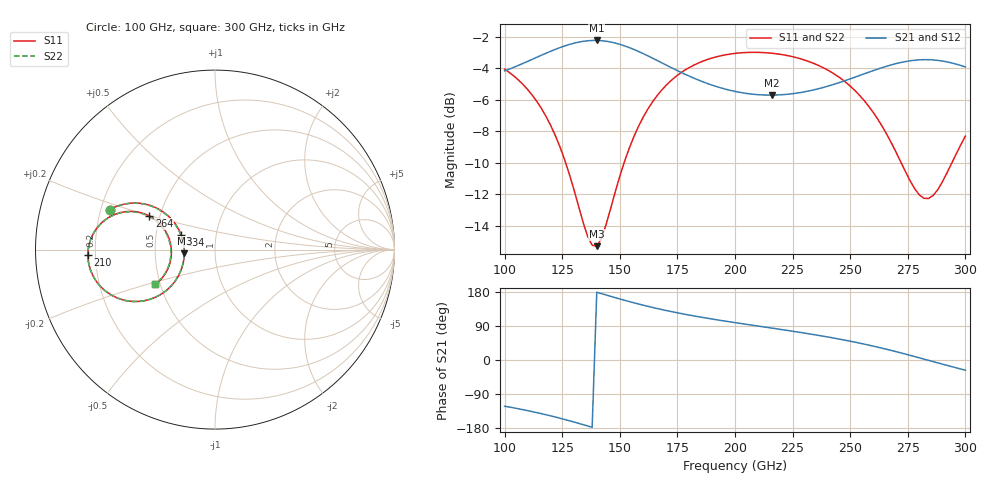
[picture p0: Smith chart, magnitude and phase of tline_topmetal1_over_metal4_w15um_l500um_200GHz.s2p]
#  GHZ S DB R 50
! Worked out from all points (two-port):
!   101 points, 100 GHz to 300 GHz, reference 50 ohm
!   highest |S21| = -2.23 dB at 140 GHz (marker M1); lowest = -5.7 dB at 216 GHz (marker M2)
!   |S21| within 3 dB of the highest: start of sweep to 193.6 GHz; 237.9 GHz to end of sweep
!   lowest |S11| = -15.3 dB at 140 GHz (marker M3), VSWR 1.41, Z = 35.4 - j1.45 ohm
!   |S11| at or under -10 dB: 126.5 GHz to 151.9 GHz (25.4 GHz wide, 18.3 % of centre); 272.1 GHz to 294.2 GHz (22.04 GHz wide, 7.78 % of centre)
!   |S22| runs from -15.2 to -3.0 dB; largest |S21 - S12| = 1.1e-13
!   S11 on the Smith chart (normalised r, x): 100 GHz: 0.24, +0.17; 134 GHz: 0.67, +0.11; 210 GHz: 0.17, -0.02; 264 GHz: 0.44, +0.20; 300 GHz: 0.47, -0.21
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100  -4.05 159.1  -4.17 -122.0  -4.17 -122.0  -4.05 159.3
110  -5.35 151.4  -3.56 -133.7  -3.56 -133.7  -5.35 151.6
120  -7.63 145.0  -2.92 -147.5  -2.92 -147.5  -7.62 145.2
126  -9.79 144.2  -2.59 -156.9  -2.59 -156.9  -9.77 144.5
134  -13.75 156.6  -2.29 -170.5  -2.29 -170.5  -13.71 156.9
138  -15.24 175.1  -2.24 -177.6  -2.24 -177.6  -15.18 175.2
140  -15.30 -173.4  -2.23 178.8  -2.23 178.8  -15.24 -173.4
146  -12.92 -147.8  -2.33 168.1  -2.33 168.1  -12.89 -147.9
154  -9.12 -139.9  -2.68 154.4  -2.68 154.4  -9.11 -140.0
168  -5.42 -147.4  -3.64 133.4  -3.64 133.4  -5.41 -147.4
184  -3.67 -159.7  -4.74 114.4  -4.74 114.4  -3.67 -159.7
200  -3.06 -171.0  -5.47 98.6  -5.47 98.6  -3.05 -170.9
210  -2.99 -177.5  -5.68 89.6  -5.68 89.6  -2.99 -177.3
216  -3.05 178.7  -5.70 84.2  -5.70 84.2  -3.04 178.9
234  -3.68 167.5  -5.38 67.2  -5.38 67.2  -3.68 167.7
250  -5.13 157.8  -4.67 49.6  -4.67 49.6  -5.12 158.1
264  -7.72 152.9  -3.95 30.9  -3.95 30.9  -7.69 153.3
268  -8.78 153.7  -3.78 25.0  -3.78 25.0  -8.74 154.1
278  -11.65 167.0  -3.49 9.1  -3.49 9.1  -11.57 167.4
284  -12.27 -175.6  -3.46 -0.9  -3.46 -0.9  -12.18 -175.5
290  -11.22 -159.7  -3.54 -10.9  -3.54 -10.9  -11.15 -159.8
300  -8.31 -149.7  -3.92 -26.8  -3.92 -26.8  -8.28 -149.9
